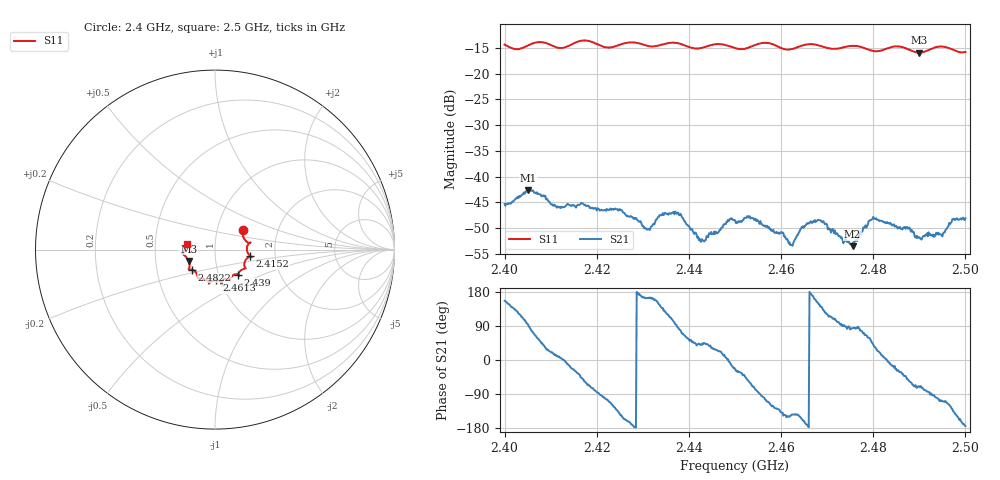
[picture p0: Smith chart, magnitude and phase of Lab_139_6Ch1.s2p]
# Hz S RI R 50
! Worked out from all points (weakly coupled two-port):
!   601 points, 2.4 GHz to 2.5 GHz, reference 50 ohm
!   highest |S21| = -42.63 dB at 2.4052 GHz (marker M1); lowest = -53.5 dB at 2.4755 GHz (marker M2)
!   lowest |S11| = -15.9 dB at 2.49 GHz (marker M3), VSWR 1.38, Z = 37 - j4.83 ohm
!   |S11| at or under -10 dB: start of sweep to end of sweep
!   S12 and S22 are empty: the file has one direction only
!   S11 on the Smith chart (normalised r, x): 2.4 GHz: 1.33, +0.31; 2.4152 GHz: 1.48, -0.11; 2.439 GHz: 1.24, -0.36; 2.4613 GHz: 0.96, -0.34; 2.4822 GHz: 0.76, -0.17; 2.5 GHz: 0.73, +0.05
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2.4e9  0.1554 0.1114  -0.00497 0.00219  0 0  0 0
2.405167e9  0.1843 0.0391  -0.000116 0.00738  0 0  0 0
2.411667e9  0.1778 0.0112  0.00501 0.000781  0 0  0 0
2.415167e9  0.1951 -0.0362  0.00466 -0.00243  0 0  0 0
2.416667e9  0.2045 -0.0421  0.00384 -0.00407  0 0  0 0
2.425e9  0.1652 -0.0958  -0.00384 -0.00296  0 0  0 0
2.431e9  0.1479 -0.113  -0.00296 0.000899  0 0  0 0
2.433333e9  0.1323 -0.1324  -0.00353 0.00205  0 0  0 0
2.437167e9  0.135 -0.146  -0.000296 0.00448  0 0  0 0
2.439e9  0.1277 -0.1387  0.00153 0.00338  0 0  0 0
2.443e9  0.0905 -0.154  0.00183 0.00157  0 0  0 0
2.45e9  0.0688 -0.1634  0.00346 -0.00152  0 0  0 0
2.453333e9  0.0371 -0.1777  0.00188 -0.00346  0 0  0 0
2.461333e9  0.00752 -0.171  -0.00213 -0.00128  0 0  0 0
2.4625e9  -0.00966 -0.1735  -0.00172 -0.00126  0 0  0 0
2.466667e9  -0.0337 -0.1902  -0.00352 0.000539  0 0  0 0
2.4755e9  -0.0931 -0.1612  0.000223 0.00211  0 0  0 0
2.4795e9  -0.1032 -0.1324  0.00236 0.00298  0 0  0 0
2.482167e9  -0.1283 -0.1117  0.00359 0.000535  0 0  0 0
2.483333e9  -0.1394 -0.1101  0.00352 -0.000387  0 0  0 0
2.49e9  -0.1463 -0.0637  0.000885 -0.00244  0 0  0 0
2.5e9  -0.1584 0.0336  -0.00392 -0.000383  0 0  0 0
